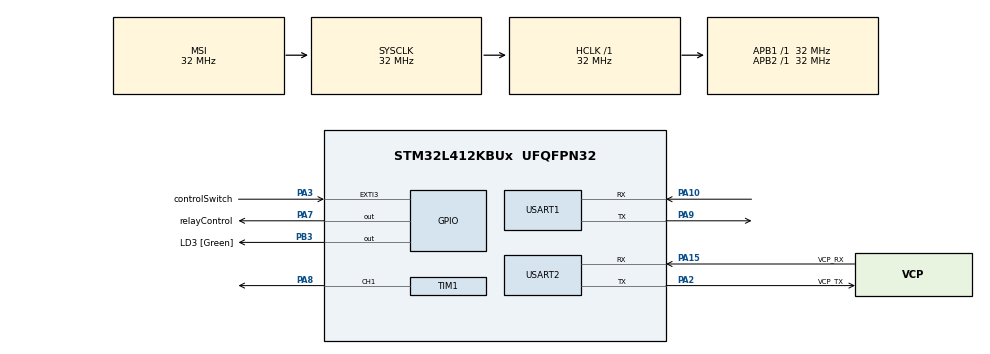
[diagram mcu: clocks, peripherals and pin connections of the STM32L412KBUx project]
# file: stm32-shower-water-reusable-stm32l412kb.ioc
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Dma.Request0=TIM1_CH1
Dma.Request1=USART1_RX
Dma.Request2=USART1_TX
Dma.TIM1_CH1.0.Direction=DMA_MEMORY_TO_PERIPH
Dma.TIM1_CH1.0.Instance=DMA1_Channel2
Dma.TIM1_CH1.0.MemDataAlignment=DMA_MDATAALIGN_BYTE
Dma.TIM1_CH1.0.MemInc=DMA_MINC_ENABLE
Dma.TIM1_CH1.0.Mode=DMA_CIRCULAR
Dma.TIM1_CH1.0.PeriphDataAlignment=DMA_PDATAALIGN_WORD
Dma.TIM1_CH1.0.PeriphInc=DMA_PINC_DISABLE
Dma.TIM1_CH1.0.Priority=DMA_PRIORITY_HIGH
Dma.USART1_RX.1.Direction=DMA_PERIPH_TO_MEMORY
Dma.USART1_RX.1.Instance=DMA1_Channel5
Dma.USART1_RX.1.MemDataAlignment=DMA_MDATAALIGN_BYTE
Dma.USART1_RX.1.MemInc=DMA_MINC_ENABLE
Dma.USART1_RX.1.Mode=DMA_NORMAL
Dma.USART1_RX.1.PeriphDataAlignment=DMA_PDATAALIGN_BYTE
Dma.USART1_RX.1.PeriphInc=DMA_PINC_DISABLE
Dma.USART1_RX.1.Priority=DMA_PRIORITY_LOW
Dma.USART1_TX.2.Direction=DMA_MEMORY_TO_PERIPH
Dma.USART1_TX.2.Instance=DMA1_Channel4
Dma.USART1_TX.2.MemDataAlignment=DMA_MDATAALIGN_BYTE
Dma.USART1_TX.2.MemInc=DMA_MINC_ENABLE
Dma.USART1_TX.2.Mode=DMA_NORMAL
Dma.USART1_TX.2.PeriphDataAlignment=DMA_PDATAALIGN_BYTE
Dma.USART1_TX.2.PeriphInc=DMA_PINC_DISABLE
Dma.USART1_TX.2.Priority=DMA_PRIORITY_LOW
FREERTOS.BinarySemaphores01=buttonBinarySem,Dynamic,NULL;readTemperatureBinarySem,Dynamic,NULL
FREERTOS.Tasks01=MainTask,24,256,Main_Task,Default,NULL,Dynamic,NULL,NULL;circularRingRed,24,256,CircularRingRedTask,Default,NULL,Dynamic,NULL,NULL;ReadTemperature,24,256,readTemperatureTask,Default,NULL,Dynamic,NULL,NULL;circularRingGre,24,256,CircularRingGreen,Default,NULL,Dynamic,NULL,NULL;errorTask,24,256,ErrorTask,Default,NULL,Dynamic,NULL,NULL;errorSignalRing,24,256,ErrorSignalRingLedTask,Default,NULL,Dynamic,NULL,NULL
FREERTOS.Timers01=updateTimer,vTimerUpdateCallback,osTimerPeriodic,Default,NULL,Dynamic,NULL
FREERTOS.configTOTAL_HEAP_SIZE=11000
Mcu.Family=STM32L4
Mcu.Name=STM32L412KBUx
Mcu.Package=UFQFPN32
NVIC.DMA1_Channel2_IRQn=true\:5\:0\:false\:false\:true\:true\:false\:true
NVIC.DMA1_Channel4_IRQn=true\:0\:0\:false\:false\:true\:false\:true\:true
NVIC.DMA1_Channel5_IRQn=true\:0\:0\:false\:false\:true\:false\:true\:true
NVIC.EXTI3_IRQn=true\:6\:0\:true\:false\:true\:false\:true\:true
NVIC.PriorityGroup=NVIC_PRIORITYGROUP_4
NVIC.TIM6_IRQn=true\:0\:0\:false\:false\:true\:false\:false\:true
NVIC.TimeBase=TIM6_IRQn
NVIC.TimeBaseIP=TIM6
NVIC.USART1_IRQn=true\:0\:0\:false\:false\:true\:true\:true\:true
PA0-CK_IN.Mode=HSE-External-Clock-Source-for-LittleOrca
PA0-CK_IN.Signal=RCC_CK_IN
PA10.Mode=Asynchronous
PA10.Signal=USART1_RX
PA13\ (JTMS/SWDIO).GPIO_Label=SWDIO
PA13\ (JTMS/SWDIO).Mode=Serial_Wire
PA13\ (JTMS/SWDIO).Signal=SYS_JTMS-SWDIO
PA14\ (JTCK/SWCLK).GPIO_Label=SWCLK
PA14\ (JTCK/SWCLK).Mode=Serial_Wire
PA14\ (JTCK/SWCLK).Signal=SYS_JTCK-SWCLK
PA15\ (JTDI).GPIO_Label=VCP_RX
PA15\ (JTDI).Mode=Asynchronous
PA15\ (JTDI).Signal=USART2_RX
PA2.GPIO_Label=VCP_TX
PA2.Mode=Asynchronous
PA2.Signal=USART2_TX
PA3.GPIO_Label=controlSwitch
PA3.GPIO_ModeDefaultEXTI=GPIO_MODE_IT_FALLING
PA3.GPIO_PuPd=GPIO_PULLUP
PA3.Signal=GPXTI3
PA7.GPIO_Label=relayControl
PA7.PinState=GPIO_PIN_SET
PA7.Signal=GPIO_Output
PA8.GPIO_Speed=GPIO_SPEED_FREQ_VERY_HIGH
PA8.Signal=S_TIM1_CH1
PA9.Mode=Asynchronous
PA9.Signal=USART1_TX
PB3\ (JTDO/TRACESWO).GPIO_Label=LD3 [Green]
PB3\ (JTDO/TRACESWO).Signal=GPIO_Output
PC14-OSC32_IN\ (PC14).Mode=LSE-External-Oscillator
PC14-OSC32_IN\ (PC14).Signal=RCC_OSC32_IN
PC15-OSC32_OUT\ (PC15).Mode=LSE-External-Oscillator
PC15-OSC32_OUT\ (PC15).Signal=RCC_OSC32_OUT
ProjectManager.HeapSize=0x200
ProjectManager.StackSize=0x400
ProjectManager.TargetToolchain=STM32CubeIDE
RCC.ADCFreq_Value=32000000
RCC.AHBFreq_Value=32000000
RCC.APB1Freq_Value=32000000
RCC.APB1TimFreq_Value=32000000
RCC.APB2Freq_Value=32000000
RCC.APB2TimFreq_Value=32000000
RCC.CortexFreq_Value=32000000
RCC.FLatency=FLASH_LATENCY_1
RCC.HCLKFreq_Value=32000000
RCC.HSE_VALUE=8000000
RCC.HSI48_VALUE=48000000
RCC.HSICalibrationValue=16
RCC.HSI_VALUE=16000000
RCC.LSE_Drive_Capability=RCC_LSEDRIVE_LOW
RCC.MSIClockRange=RCC_MSIRANGE_10
RCC.MSI_VALUE=32000000
RCC.SYSCLKFreq_VALUE=32000000
RCC.USBFreq_Value=32000000
RCC.VCOOutputFreq_Value=256000000
SH.S_TIM1_CH1.0=TIM1_CH1,PWM Generation1 CH1
TIM1.Channel-PWM\ Generation1\ CH1=TIM_CHANNEL_1
TIM1.Period=TIMER_PERIOD-1
TIM1.Prescaler=(uint32_t)((SystemCoreClock / TIMER_CLOCK_FREQ) - 1)
TIM1.Pulse-PWM\ Generation1\ CH1=(TIMER_PERIOD * 2 / 3)
USART1.VirtualMode-Asynchronous=VM_ASYNC
USART2.VirtualMode-Asynchronous=VM_ASYNC
VP_FREERTOS_VS_CMSIS_V2.Mode=CMSIS_V2
VP_SYS_VS_tim6.Mode=TIM6
VP_TIM1_VS_ClockSourceINT.Mode=Internal
board=NUCLEO-L412KB

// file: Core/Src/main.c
/* USER CODE BEGIN Header */
/**
  ******************************************************************************
  * @file           : main.c
  * @brief          : Main program body
  ******************************************************************************
  * @attention
  *
  * <h2><center>&copy; Copyright (c) 2020 STMicroelectronics.
  * All rights reserved.</center></h2>
  *
  * This software component is licensed by ST under BSD 3-Clause license,
  * the "License"; You may not use this file except in compliance with the
  * License. You may obtain a copy of the License at:
  *                        opensource.org/licenses/BSD-3-Clause
  *
  ******************************************************************************
  */
/* USER CODE END Header */
#include "main.h"
#include "cmsis_os.h"
#include "dma.h"
#include "tim.h"
#include "usart.h"
#include "gpio.h"

/* USER CODE BEGIN Includes */
#include <stdio.h>
#include <stdbool.h>
#include <stdarg.h>
#include "WS2812.h"
#include "stripEffects.h"
#include "lwow/lwow.h"
#include "lwow/devices/lwow_device_ds18x20.h"
#include "scan_devices.h"
#include "Buttons.h"
/* USER CODE END Includes */

void SystemClock_Config(void);
void MX_FREERTOS_Init(void);

/* USER CODE BEGIN 0 */
void safeprintf(const char* fmt, ...) {
    va_list va;

    va_start(va, fmt);
    osKernelLock();
    vprintf(fmt, va);
    osKernelUnlock();
    va_end(va);
}
/* USER CODE END 0 */

int main(void)
{

  /* MCU Configuration--------------------------------------------------------*/

  /* Reset of all peripherals, Initializes the Flash interface and the Systick. */
  HAL_Init();

  /* Configure the system clock */
  SystemClock_Config();

  /* Initialize all configured peripherals */
  MX_GPIO_Init();
  MX_USART2_UART_Init();
  MX_DMA_Init();
  MX_TIM1_Init();
  MX_USART1_UART_Init();
  /* USER CODE BEGIN 2 */
  printf("Application running on STM32L412KB-Nucleo board!\r\n");
  /* USER CODE END 2 */

  /* Init scheduler */
  osKernelInitialize();  /* Call init function for freertos objects (in freertos.c) */
  MX_FREERTOS_Init();
  /* Start scheduler */
  osKernelStart();

  /* We should never get here as control is now taken by the scheduler */
  /* Infinite loop */
  while (1)
  {

  }
}

void SystemClock_Config(void)
{
  RCC_OscInitTypeDef RCC_OscInitStruct = {0};
  RCC_ClkInitTypeDef RCC_ClkInitStruct = {0};
  RCC_PeriphCLKInitTypeDef PeriphClkInit = {0};

  /** Configure LSE Drive Capability
  */
  HAL_PWR_EnableBkUpAccess();
  __HAL_RCC_LSEDRIVE_CONFIG(RCC_LSEDRIVE_LOW);
  /** Configure the main internal regulator output voltage
  */
  if (HAL_PWREx_ControlVoltageScaling(PWR_REGULATOR_VOLTAGE_SCALE1) != HAL_OK)
  {
    Error_Handler();
  }
  /** Initializes the RCC Oscillators according to the specified parameters
  * in the RCC_OscInitTypeDef structure.
  */
  RCC_OscInitStruct.OscillatorType = RCC_OSCILLATORTYPE_LSE|RCC_OSCILLATORTYPE_MSI;
  RCC_OscInitStruct.LSEState = RCC_LSE_ON;
  RCC_OscInitStruct.MSIState = RCC_MSI_ON;
  RCC_OscInitStruct.MSICalibrationValue = 0;
  RCC_OscInitStruct.MSIClockRange = RCC_MSIRANGE_10;
  RCC_OscInitStruct.PLL.PLLState = RCC_PLL_NONE;
  if (HAL_RCC_OscConfig(&RCC_OscInitStruct) != HAL_OK)
  {
    Error_Handler();
  }
  /** Initializes the CPU, AHB and APB buses clocks
  */
  RCC_ClkInitStruct.ClockType = RCC_CLOCKTYPE_HCLK|RCC_CLOCKTYPE_SYSCLK
                              |RCC_CLOCKTYPE_PCLK1|RCC_CLOCKTYPE_PCLK2;
  RCC_ClkInitStruct.SYSCLKSource = RCC_SYSCLKSOURCE_MSI;
  RCC_ClkInitStruct.AHBCLKDivider = RCC_SYSCLK_DIV1;
  RCC_ClkInitStruct.APB1CLKDivider = RCC_HCLK_DIV1;
  RCC_ClkInitStruct.APB2CLKDivider = RCC_HCLK_DIV1;

  if (HAL_RCC_ClockConfig(&RCC_ClkInitStruct, FLASH_LATENCY_1) != HAL_OK)
  {
    Error_Handler();
  }
  PeriphClkInit.PeriphClockSelection = RCC_PERIPHCLK_USART1|RCC_PERIPHCLK_USART2;
  PeriphClkInit.Usart1ClockSelection = RCC_USART1CLKSOURCE_PCLK2;
  PeriphClkInit.Usart2ClockSelection = RCC_USART2CLKSOURCE_PCLK1;
  if (HAL_RCCEx_PeriphCLKConfig(&PeriphClkInit) != HAL_OK)
  {
    Error_Handler();
  }
  /** Enable MSI Auto calibration
  */
  HAL_RCCEx_EnableMSIPLLMode();
}

/* USER CODE BEGIN 4 */
/**
 * \brief           Printf character handler
 * \param[in]       ch: Character to send
 * \param[in]       f: File pointer
 * \return          Written character
 */
#ifdef __GNUC__
int __io_putchar(int ch) {
#else
int fputc(int ch, FILE* fil) {
#endif
    uint8_t c = (uint8_t)ch;
    HAL_UART_Transmit(&huart2, &c, 1, 100);
    return ch;
}
/* USER CODE END 4 */

void HAL_TIM_PeriodElapsedCallback(TIM_HandleTypeDef *htim)
{
  if (htim->Instance == TIM6) {
    HAL_IncTick();
  }
  /* USER CODE BEGIN Callback 1 */
  else if(htim->Instance == TIM2) {
	  //Button_Timer_Callback();
  }
  /* USER CODE END Callback 1 */
}

void Error_Handler(void)
{
}

/************************ (C) COPYRIGHT STMicroelectronics *****END OF FILE****/

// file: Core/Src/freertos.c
/* USER CODE BEGIN Header */
/**
  ******************************************************************************
  * File Name          : freertos.c
  * Description        : Code for freertos applications
  ******************************************************************************
  * @attention
  *
  * <h2><center>&copy; Copyright (c) 2020 STMicroelectronics.
  * All rights reserved.</center></h2>
  *
  * This software component is licensed by ST under Ultimate Liberty license
  * SLA0044, the "License"; You may not use this file except in compliance with
  * the License. You may obtain a copy of the License at:
  *                             www.st.com/SLA0044
  *
  ******************************************************************************
  */
/* USER CODE END Header */

#include "FreeRTOS.h"
#include "task.h"
#include "main.h"
#include "cmsis_os.h"

/* USER CODE BEGIN Includes */
#include <stdio.h>
#include <stdbool.h>
#include <stdarg.h>
#include "tim.h"
#include "usart.h"
#include "WS2812.h"
#include "stripEffects.h"
#include "lwow/lwow.h"
#include "lwow/devices/lwow_device_ds18x20.h"
#include "scan_devices.h"
#include "Buttons.h"
/* USER CODE END Includes */

/* USER CODE BEGIN PTD */
#define UPDATE_INTERVAL 	15 //refresh rate: 1/0.015ms = 66Hz
#define TASK_INTERVAL		10000
/* USER CODE END PTD */

/* USER CODE BEGIN Variables */
extern const lwow_ll_drv_t lwow_ll_drv_stm32_hal;
lwow_t ow;
lwow_rom_t rom_ids[20];
size_t rom_found;
float actual_temp = 0;
int error_count = 0;
static uint8_t tempReadyCtn = 0;
static bool tempReady = false;
/* USER CODE END Variables */
/* Definitions for MainTask */
osThreadId_t MainTaskHandle;
const osThreadAttr_t MainTask_attributes = {
  .name = "MainTask",
  .priority = (osPriority_t) osPriorityNormal,
  .stack_size = 256 * 4
};
/* Definitions for circularRingRed */
osThreadId_t circularRingRedHandle;
const osThreadAttr_t circularRingRed_attributes = {
  .name = "circularRingRed",
  .priority = (osPriority_t) osPriorityNormal,
  .stack_size = 256 * 4
};
/* Definitions for ReadTemperature */
osThreadId_t ReadTemperatureHandle;
const osThreadAttr_t ReadTemperature_attributes = {
  .name = "ReadTemperature",
  .priority = (osPriority_t) osPriorityNormal,
  .stack_size = 256 * 4
};
/* Definitions for circularRingGre */
osThreadId_t circularRingGreHandle;
const osThreadAttr_t circularRingGre_attributes = {
  .name = "circularRingGre",
  .priority = (osPriority_t) osPriorityNormal,
  .stack_size = 256 * 4
};
/* Definitions for errorTask */
osThreadId_t errorTaskHandle;
const osThreadAttr_t errorTask_attributes = {
  .name = "errorTask",
  .priority = (osPriority_t) osPriorityNormal,
  .stack_size = 256 * 4
};
/* Definitions for errorSignalRing */
osThreadId_t errorSignalRingHandle;
const osThreadAttr_t errorSignalRing_attributes = {
  .name = "errorSignalRing",
  .priority = (osPriority_t) osPriorityNormal,
  .stack_size = 256 * 4
};
/* Definitions for updateTimer */
osTimerId_t updateTimerHandle;
const osTimerAttr_t updateTimer_attributes = {
  .name = "updateTimer"
};
/* Definitions for buttonBinarySem */
osSemaphoreId_t buttonBinarySemHandle;
const osSemaphoreAttr_t buttonBinarySem_attributes = {
  .name = "buttonBinarySem"
};
/* Definitions for readTemperatureBinarySem */
osSemaphoreId_t readTemperatureBinarySemHandle;
const osSemaphoreAttr_t readTemperatureBinarySem_attributes = {
  .name = "readTemperatureBinarySem"
};

/* USER CODE BEGIN FunctionPrototypes */
uint8_t getButton();
void water_valve_control(bool activate);
/* USER CODE END FunctionPrototypes */

void Main_Task(void *argument);
void CircularRingRedTask(void *argument);
void readTemperatureTask(void *argument);
void CircularRingGreen(void *argument);
void ErrorTask(void *argument);
void ErrorSignalRingLedTask(void *argument);
void vTimerUpdateCallback(void *argument);

void MX_FREERTOS_Init(void); /* (MISRA C 2004 rule 8.1) */

void MX_FREERTOS_Init(void) {
  /* USER CODE BEGIN Init */
	water_valve_control(false); //Water valve off
	ws2812_init(&htim1, NULL);
	fillBufferBlack();
  /* USER CODE END Init */

  /* Create the semaphores(s) */
  /* creation of buttonBinarySem */
  buttonBinarySemHandle = osSemaphoreNew(1, 1, &buttonBinarySem_attributes);

  /* creation of readTemperatureBinarySem */
  readTemperatureBinarySemHandle = osSemaphoreNew(1, 1, &readTemperatureBinarySem_attributes);

  /* Create the timer(s) */
  /* creation of updateTimer */
  updateTimerHandle = osTimerNew(vTimerUpdateCallback, osTimerPeriodic, NULL, &updateTimer_attributes);

  /* Create the thread(s) */
  /* creation of MainTask */
  MainTaskHandle = osThreadNew(Main_Task, NULL, &MainTask_attributes);

  /* creation of circularRingRed */
  circularRingRedHandle = osThreadNew(CircularRingRedTask, NULL, &circularRingRed_attributes);

  /* creation of ReadTemperature */
  ReadTemperatureHandle = osThreadNew(readTemperatureTask, NULL, &ReadTemperature_attributes);

  /* creation of circularRingGre */
  circularRingGreHandle = osThreadNew(CircularRingGreen, NULL, &circularRingGre_attributes);

  /* creation of errorTask */
  errorTaskHandle = osThreadNew(ErrorTask, NULL, &errorTask_attributes);

  /* creation of errorSignalRing */
  errorSignalRingHandle = osThreadNew(ErrorSignalRingLedTask, NULL, &errorSignalRing_attributes);

  /* USER CODE BEGIN RTOS_THREADS */
  /* add threads, ... */
  osThreadSuspend(ReadTemperatureHandle);
  osThreadSuspend(circularRingRedHandle);
  osThreadSuspend(circularRingGreHandle);
  osThreadSuspend(errorSignalRingHandle);
  osThreadSuspend(errorTaskHandle);
  /* USER CODE END RTOS_THREADS */

}

void Main_Task(void *argument)
{
  /* USER CODE BEGIN Main_Task */
	osThreadSuspend(ReadTemperatureHandle);
	osThreadSuspend(circularRingRedHandle);
	osThreadSuspend(circularRingGreHandle);

	bool isStarted = false;
	bool isAborted = false;
	uint32_t systemStartTime = 0;

	for(;;){
		ButtonState buttons = getButtonState();

		switch(buttons){
			case BUTTON_SHORT:
				isStarted = true;
				isAborted = false;
				systemStartTime = xTaskGetTickCount();
				break;
			case BUTTON_LONG:
				isAborted = true;
				isStarted = false;
				break;
			case BUTTON_DOUBLE:
			case BUTTON_NONE:
				break;
		}
		if(isStarted){
			// Resume the readTemperature task
			osThreadResume(ReadTemperatureHandle);

			// Resume the led ring task
			osThreadResume(circularRingRedHandle);

			if(tempReady){
				if(actual_temp < CORRECT_TEMPERATURE){
					if((xTaskGetTickCount() - systemStartTime) > TEMPERATURE_ERROR_TIME){
						water_valve_control(false);
						osThreadSuspend(circularRingRedHandle);
						osThreadResume(errorTaskHandle);
						fillBufferBlack();
						osDelay(4000);
						HAL_NVIC_SystemReset();
					}
					// Activate the relay to open the valve for the water
					else water_valve_control(true);
				}else{
					// Deactivate the relay to close the valve because the temperature of the water is good !
					water_valve_control(false);

					//Suspend temperature en led ring task
					//osThreadSuspend(readTemperatureTask);
					osThreadSuspend(circularRingRedHandle);

					osThreadResume(circularRingGreHandle);

					osDelay(4000);

					osThreadSuspend(circularRingGreHandle);
					fillBufferBlack();
					HAL_NVIC_SystemReset();
				}
			}
		}else if(isAborted){
			// Deactivate the relay to close the valve because the temperature of the water is good !
			water_valve_control(false);
			osThreadSuspend(circularRingRedHandle);
			fillBufferBlack();
			osDelay(2000);
			HAL_NVIC_SystemReset();
		}
	}
  /* USER CODE END Main_Task */
}

void CircularRingRedTask(void *argument)
{
  /* USER CODE BEGIN CircularRingRedTask */
	stripEffect_ColorWheel(50);
  /* USER CODE END CircularRingRedTask */
}

void readTemperatureTask(void *argument)
{
  /* USER CODE BEGIN readTemperatureTask */
	float avg_temp;
	size_t avg_temp_count;

	/* Initialize 1-Wire library and set user argument to NULL */
	lwow_init(&ow, &lwow_ll_drv_stm32_hal, &huart1);

	/* Get onewire devices connected on 1-wire port */
	do {
		if (scan_onewire_devices(&ow, rom_ids, LWOW_ARRAYSIZE(rom_ids), &rom_found) == lwowOK) {
			printf("Devices scanned, found %d devices!\r\n", (int)rom_found);
		} else {
			printf("Device scan error\r\n");
			error_count++;
			if(error_count >= MAX_ERROR_COUNT){
				osThreadResume(errorTaskHandle);
			}
		}
		if (rom_found == 0) {
			osDelay(1000);
		}
	} while (rom_found == 0);

	if (rom_found > 0) {
		/* Infinite loop */
		actual_temp = 0;
		tempReadyCtn = 0;
		tempReady = false;
		while (1) {
			printf("Start temperature conversion\r\n");
			lwow_ds18x20_start(&ow, NULL);      /* Start conversion on all devices, use protected API */
			osDelay(1000);                      /* Release thread for 1 second */

			/* Read temperature on all devices */
			avg_temp = 0;
			avg_temp_count = 0;
			for (size_t i = 0; i < rom_found; i++) {
				if (lwow_ds18x20_is_b(&ow, &rom_ids[i])) {
					float temp;
					uint8_t resolution = lwow_ds18x20_get_resolution(&ow, &rom_ids[i]);
					if (lwow_ds18x20_read(&ow, &rom_ids[i], &temp)) {
						printf("Sensor %02u temperature is %d.%d degrees (%u bits resolution)\r\n",
							(unsigned)i, (int)temp, (int)((temp * 1000.0f) - (((int)temp) * 1000)), (unsigned)resolution);

						avg_temp += temp;
						actual_temp = temp;
						avg_temp_count++;
						if(tempReadyCtn >= 2){
							tempReady = true;
						}else{
							tempReadyCtn++;
						}
					} else {
						printf("Could not read temperature on sensor %u\r\n", (unsigned)i);

						if(error_count > MAX_ERROR_COUNT){
							osThreadResume(errorTaskHandle);
						}else{
							error_count++;
						}
					}
				}
			}
			if (avg_temp_count > 0) {
				avg_temp = avg_temp / avg_temp_count;
			}
			printf("Average temperature: %d.%d degrees\r\n", (int)avg_temp, (int)((avg_temp * 100.0f) - ((int)avg_temp) * 100));
		}
	}
	printf("Terminating application thread\r\n");
	osThreadExit();
  /* USER CODE END readTemperatureTask */
}

void CircularRingGreen(void *argument)
{
  /* USER CODE BEGIN CircularRingGreen */
	stripEffect_CircularRing(50, 0, 255, 0);
  /* USER CODE END CircularRingGreen */
}

void ErrorTask(void *argument)
{
  /* USER CODE BEGIN ErrorTask */
	// Deactivate the relay to close the valve because the temperature of the water is good !
	water_valve_control(false);

	osThreadSuspend(ReadTemperatureHandle);
	osThreadSuspend(circularRingRedHandle);
	osThreadSuspend(circularRingGreHandle);

	osThreadResume(errorSignalRingHandle);
	osDelay(5000);
	osThreadSuspend(errorSignalRingHandle);

	osSemaphoreAcquire(buttonBinarySemHandle , osWaitForever);
	osThreadTerminate(MainTaskHandle);
	MainTaskHandle = osThreadNew(Main_Task, NULL, &MainTask_attributes);
  /* USER CODE END ErrorTask */
}

void ErrorSignalRingLedTask(void *argument)
{
  /* USER CODE BEGIN ErrorSignalRingLedTask */
	stripEffect_HeartBeat(250, 255, 0, 0);
  /* USER CODE END ErrorSignalRingLedTask */
}

/* vTimerUpdateCallback function */
void vTimerUpdateCallback(void *argument)
{
  /* USER CODE BEGIN vTimerUpdateCallback */
	ws2812_update();
  /* USER CODE END vTimerUpdateCallback */
}

void water_valve_control(bool activate){
	if(activate){
		printf("Turn on the valve to put the cold water into the cistern");
		HAL_GPIO_WritePin(relayControl_GPIO_Port, relayControl_Pin, GPIO_PIN_RESET);
	}else{
		printf("Turn off the valve to put the water into the normal circuit");
		HAL_GPIO_WritePin(relayControl_GPIO_Port, relayControl_Pin, GPIO_PIN_SET);
	}
}
/* USER CODE END Application */

/************************ (C) COPYRIGHT STMicroelectronics *****END OF FILE****/
